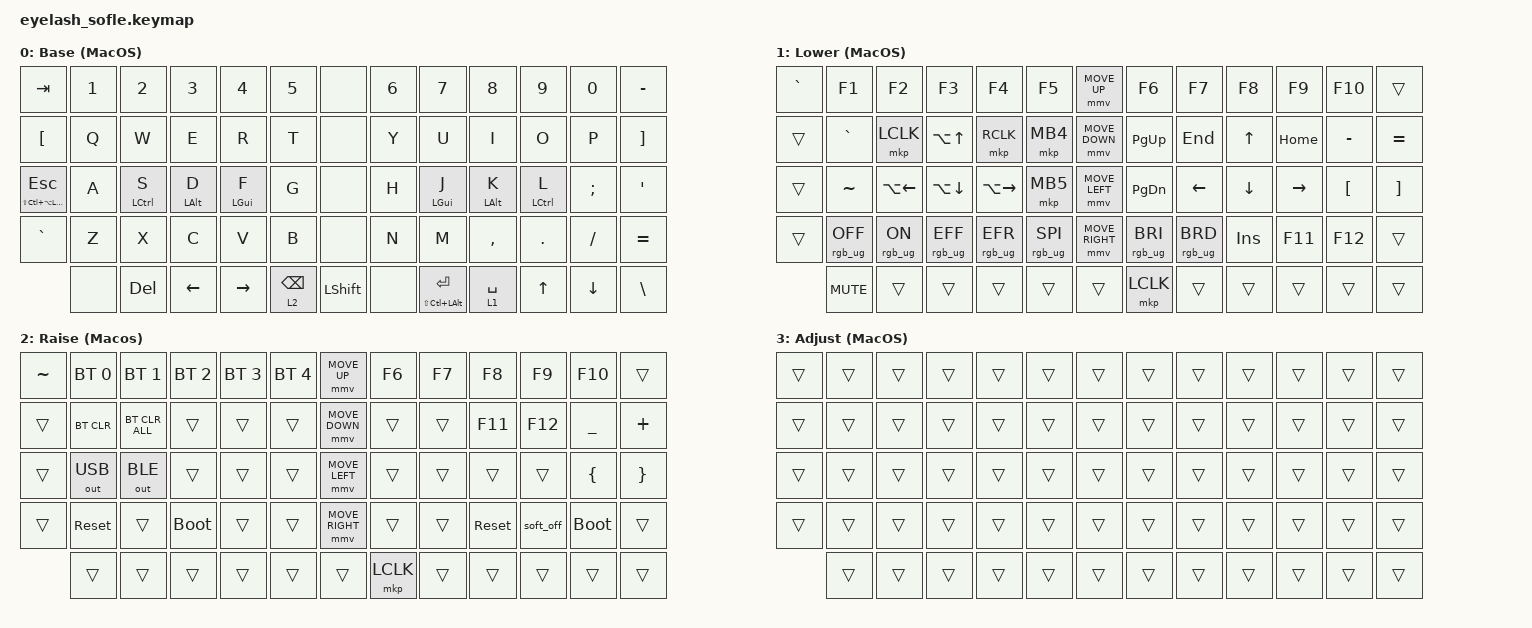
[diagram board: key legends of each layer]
#define ZMK_POINTING_DEFAULT_MOVE_VAL 1200  // 600
#define ZMK_POINTING_DEFAULT_SCRL_VAL 25   // 10

#include <input/processors.dtsi>
#include <zephyr/dt-bindings/input/input-event-codes.h>
#include <behaviors.dtsi>
#include <dt-bindings/zmk/bt.h>
#include <dt-bindings/zmk/ext_power.h>
#include <dt-bindings/zmk/keys.h>
#include <dt-bindings/zmk/pointing.h>
#include <dt-bindings/zmk/rgb.h>
#include <dt-bindings/zmk/outputs.h>

#define HYESC &ktp LS(LC(LA(LGUI))) ESC
#define MENT &ktp LS(LC(LALT)) ENTER

/ {
    behaviors {
        ktp: key_tap_repeat {
            compatible = "zmk,behavior-hold-tap";
            #binding-cells = <2>;
            flavor = "balanced";
            tapping-term-ms = <220>;
            quick-tap-ms = <200>;
            require-prior-idle-ms = <150>;
            bindings = <&kp>, <&kp>;
        };

        ltp: layer_tap_repeat {
            compatible = "zmk,behavior-hold-tap";
            #binding-cells = <2>;
            flavor = "balanced";
            tapping-term-ms = <220>;
            quick-tap-ms = <200>;
            require-prior-idle-ms = <150>;
            bindings = <&mo>, <&kp>;
        };
    };


    keymap {
        compatible = "zmk,keymap";

        base_macos {
            bindings = <
&kp TAB           &kp N1     &kp N2        &kp N3        &kp N4       &kp N5              &none             &kp N6          &kp N7       &kp N8      &kp N9        &kp N0      &kp MINUS
&kp LBKT          &kp Q      &kp W         &kp E         &kp R        &kp T               &none             &kp Y           &kp U        &kp I       &kp O         &kp P       &kp RBKT
HYESC             &kp A      &ktp LCTRL S  &ktp LALT D   &ktp LGUI F  &kp G               &none             &kp H           &ktp LGUI J  &ktp LALT K &ktp LCTRL L  &kp SEMI     &kp APOS
&kp GRAVE         &kp Z      &kp X         &kp C         &kp V        &kp B               &none             &kp N           &kp M        &kp COMMA   &kp DOT       &kp FSLH    &kp EQUAL
                  &none &kp DELETE     &kp LEFT &kp RIGHT &ltp 2 BSPC  &kp LSHFT   &none         MENT    &ltp 1 SPACE    &kp UP      &kp DOWN      &kp BSLH
            >;
            display-name = "Base (MacOS)";
        };

        lower_macos {
            bindings = <
&kp GRAVE   &kp F1           &kp F2          &kp F3           &kp F4           &kp F5             &mmv MOVE_UP     &kp F6           &kp F7           &kp F8      &kp F9     &kp F10           &trans
&trans      &kp GRAVE        &mkp LCLK       &kp LA(UP)       &mkp RCLK        &mkp MB4           &mmv MOVE_DOWN   &kp PG_UP        &kp END          &kp UP      &kp HOME   &kp MINUS         &kp EQUAL
&trans      &kp TILDE        &kp LA(LEFT)    &kp LA(DOWN)     &kp LA(RIGHT)    &mkp MB5           &mmv MOVE_LEFT   &kp PG_DN        &kp LEFT         &kp DOWN    &kp RIGHT  &kp LEFT_BRACKET  &kp RIGHT_BRACKET
&trans      &rgb_ug RGB_OFF  &rgb_ug RGB_ON  &rgb_ug RGB_EFF  &rgb_ug RGB_EFR  &rgb_ug RGB_SPI    &mmv MOVE_RIGHT  &rgb_ug RGB_BRI  &rgb_ug RGB_BRD  &kp INSERT  &kp F11    &kp F12           &trans
&kp C_MUTE  &trans           &trans          &trans           &trans           &trans             &mkp LCLK        &trans           &trans           &trans      &trans     &trans
            >;

            display-name = "Lower (MacOS)";
        };

        raise_macos {
            bindings = <
&kp TILDE  &bt BT_SEL 0  &bt BT_SEL 1    &bt BT_SEL 2  &bt BT_SEL 3  &bt BT_SEL 4    &mmv MOVE_UP     &kp F6  &kp F7  &kp F8      &kp F9     &kp F10      &trans
&trans     &bt BT_CLR    &bt BT_CLR_ALL  &trans        &trans        &trans          &mmv MOVE_DOWN   &trans  &trans  &kp F11     &kp F12    &kp UNDER    &kp PLUS
&trans     &out OUT_USB  &out OUT_BLE    &trans        &trans        &trans          &mmv MOVE_LEFT   &trans  &trans  &trans      &trans     &kp LBRC     &kp RBRC
&trans     &sys_reset    &trans          &bootloader   &trans        &trans          &mmv MOVE_RIGHT  &trans  &trans  &sys_reset  &soft_off  &bootloader  &trans
&trans     &trans        &trans          &trans        &trans        &trans          &mkp LCLK        &trans  &trans  &trans      &trans     &trans
            >;

            display-name = "Raise (Macos)";
        };

        adjust_macos {
            bindings = <
&trans          &trans          &trans          &trans  &trans  &trans    &trans  &trans  &trans  &trans  &trans  &trans  &trans
&trans          &trans          &trans          &trans  &trans  &trans    &trans  &trans  &trans  &trans  &trans  &trans  &trans
&trans          &trans          &trans          &trans  &trans  &trans    &trans  &trans  &trans  &trans  &trans  &trans  &trans
&trans          &trans          &trans          &trans  &trans  &trans    &trans  &trans  &trans  &trans  &trans  &trans  &trans
&trans          &trans          &trans          &trans  &trans  &trans    &trans  &trans  &trans  &trans  &trans  &trans
            >;

            display-name = "Adjust (MacOS)";
        };
    };
};
